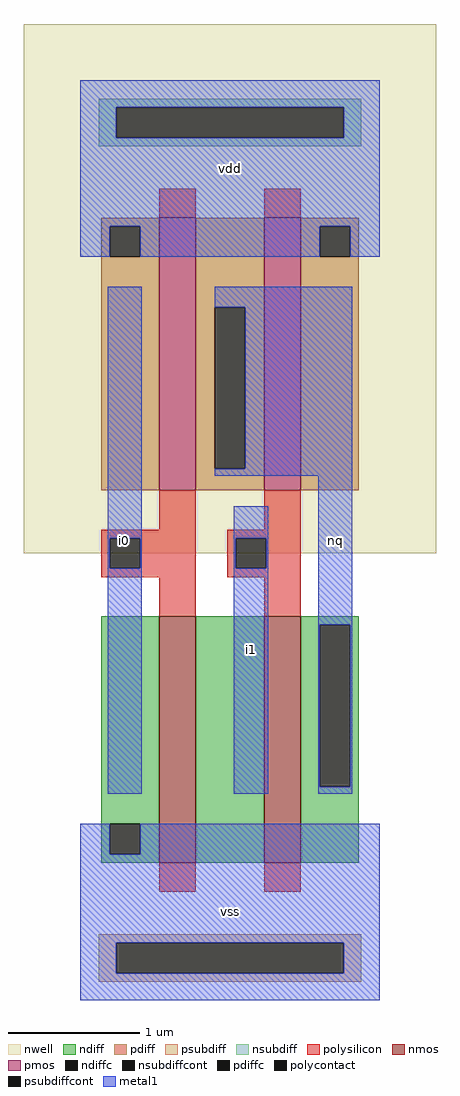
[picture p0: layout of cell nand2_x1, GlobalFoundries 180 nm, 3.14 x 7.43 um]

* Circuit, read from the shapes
.subckt nand2_x1 vss vdd i0 nq i1
XM1 n1 i0 vss vss nfet_03v3 w=1.875u l=0.28u
XM2 nq i1 n1 vss nfet_03v3 w=1.875u l=0.28u
XM3 nq i0 vdd vdd pfet_03v3 w=2.075u l=0.28u
XM4 vdd i1 nq vdd pfet_03v3 w=2.075u l=0.28u
.ends

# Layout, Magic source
magic
tech gf180mcuD
magscale 1 10
<< nwell >>
rect -86 680 542 1486
<< nmos >>
rect 120 209 176 584
rect 280 209 336 584
<< pmos >>
rect 120 776 176 1191
rect 280 776 336 1191
<< ndiff >>
rect 32 268 120 584
rect 32 222 45 268
rect 91 222 120 268
rect 32 209 120 222
rect 176 209 280 584
rect 336 571 424 584
rect 336 325 365 571
rect 411 325 424 571
rect 336 209 424 325
<< pdiff >>
rect 32 1178 120 1191
rect 32 1132 45 1178
rect 91 1132 120 1178
rect 32 776 120 1132
rect 176 1055 280 1191
rect 176 809 205 1055
rect 251 809 280 1055
rect 176 776 280 809
rect 336 1178 424 1191
rect 336 1132 365 1178
rect 411 1132 424 1178
rect 336 776 424 1132
<< ndiffc >>
rect 45 222 91 268
rect 365 325 411 571
<< pdiffc >>
rect 45 1132 91 1178
rect 205 809 251 1055
rect 365 1132 411 1178
<< psubdiff >>
rect 28 87 428 100
rect 28 41 55 87
rect 401 41 428 87
rect 28 28 428 41
<< nsubdiff >>
rect 28 1359 428 1372
rect 28 1313 55 1359
rect 401 1313 428 1359
rect 28 1300 428 1313
<< psubdiffcont >>
rect 55 41 401 87
<< nsubdiffcont >>
rect 55 1313 401 1359
<< polysilicon >>
rect 120 1191 176 1235
rect 280 1191 336 1235
rect 120 716 176 776
rect 280 716 336 776
rect 32 703 176 716
rect 32 657 45 703
rect 91 657 176 703
rect 32 644 176 657
rect 224 703 336 716
rect 224 657 237 703
rect 283 657 336 703
rect 224 644 336 657
rect 120 584 176 644
rect 280 584 336 644
rect 120 165 176 209
rect 280 165 336 209
<< polycontact >>
rect 45 657 91 703
rect 237 657 283 703
<< metal1 >>
rect 0 1359 456 1400
rect 0 1313 55 1359
rect 401 1313 456 1359
rect 0 1178 456 1313
rect 0 1132 45 1178
rect 91 1132 365 1178
rect 411 1132 456 1178
rect 42 703 94 1086
rect 205 1055 414 1086
rect 251 809 414 1055
rect 205 798 414 809
rect 42 657 45 703
rect 91 657 94 703
rect 42 314 94 657
rect 234 703 286 752
rect 234 657 237 703
rect 283 657 286 703
rect 234 314 286 657
rect 362 571 414 798
rect 362 325 365 571
rect 411 325 414 571
rect 362 314 414 325
rect 0 222 45 268
rect 91 222 456 268
rect 0 87 456 222
rect 0 41 55 87
rect 401 41 456 87
rect 0 0 456 41
<< labels >>
rlabel metal1 s 0 0 456 268 4 vss
port 3 nsew
rlabel metal1 s 0 1132 456 1400 4 vdd
port 5 nsew
rlabel metal1 s 42 314 94 1086 4 i0
port 7 nsew
rlabel metal1 s 362 314 414 1086 4 nq
port 9 nsew
rlabel metal1 s 234 314 286 752 4 i1
port 11 nsew
<< end >>
